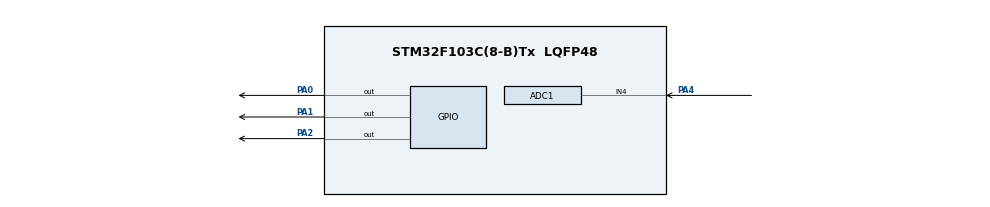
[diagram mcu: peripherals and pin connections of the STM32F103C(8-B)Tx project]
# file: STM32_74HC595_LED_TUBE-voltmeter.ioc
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ADC1.Channel-12\#ChannelRegularConversion=ADC_CHANNEL_4
ADC1.NbrOfConversionFlag=1
ADC1.Rank-12\#ChannelRegularConversion=1
ADC1.SamplingTime-12\#ChannelRegularConversion=ADC_SAMPLETIME_1CYCLE_5
ADC1.master=1
Mcu.Family=STM32F1
Mcu.Name=STM32F103C(8-B)Tx
Mcu.Package=LQFP48
NVIC.PriorityGroup=NVIC_PRIORITYGROUP_4
PA0-WKUP.Signal=GPIO_Output
PA1.Signal=GPIO_Output
PA13.Mode=Serial_Wire
PA13.Signal=SYS_JTMS-SWDIO
PA14.Mode=Serial_Wire
PA14.Signal=SYS_JTCK-SWCLK
PA2.Signal=GPIO_Output
PA4.Signal=ADCx_IN4
ProjectManager.HeapSize=0x200
ProjectManager.StackSize=0x400
ProjectManager.TargetToolchain=Makefile
RCC.APB1CLKDivider=RCC_HCLK_DIV4
RCC.APB1Freq_Value=2000000
RCC.APB1TimFreq_Value=4000000
RCC.APB2Freq_Value=8000000
RCC.APB2TimFreq_Value=8000000
SH.ADCx_IN4.0=ADC1_IN4,IN4

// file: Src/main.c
/**
  ******************************************************************************
  * File Name          : main.c
  * Description        : Main program body
  ******************************************************************************
  ** This notice applies to any and all portions of this file
  * that are not between comment pairs USER CODE BEGIN and
  * USER CODE END. Other portions of this file, whether
  * inserted by the user or by software development tools
  * are owned by their respective copyright owners.
  *
  * COPYRIGHT(c) 2017 STMicroelectronics
  *
  * Redistribution and use in source and binary forms, with or without modification,
  * are permitted provided that the following conditions are met:
  *   1. Redistributions of source code must retain the above copyright notice,
  *      this list of conditions and the following disclaimer.
  *   2. Redistributions in binary form must reproduce the above copyright notice,
  *      this list of conditions and the following disclaimer in the documentation
  *      and/or other materials provided with the distribution.
  *   3. Neither the name of STMicroelectronics nor the names of its contributors
  *      may be used to endorse or promote products derived from this software
  *      without specific prior written permission.
  *
  * THIS SOFTWARE IS PROVIDED BY THE COPYRIGHT HOLDERS AND CONTRIBUTORS "AS IS"
  * AND ANY EXPRESS OR IMPLIED WARRANTIES, INCLUDING, BUT NOT LIMITED TO, THE
  * IMPLIED WARRANTIES OF MERCHANTABILITY AND FITNESS FOR A PARTICULAR PURPOSE ARE
  * DISCLAIMED. IN NO EVENT SHALL THE COPYRIGHT HOLDER OR CONTRIBUTORS BE LIABLE
  * FOR ANY DIRECT, INDIRECT, INCIDENTAL, SPECIAL, EXEMPLARY, OR CONSEQUENTIAL
  * DAMAGES (INCLUDING, BUT NOT LIMITED TO, PROCUREMENT OF SUBSTITUTE GOODS OR
  * SERVICES; LOSS OF USE, DATA, OR PROFITS; OR BUSINESS INTERRUPTION) HOWEVER
  * CAUSED AND ON ANY THEORY OF LIABILITY, WHETHER IN CONTRACT, STRICT LIABILITY,
  * OR TORT (INCLUDING NEGLIGENCE OR OTHERWISE) ARISING IN ANY WAY OUT OF THE USE
  * OF THIS SOFTWARE, EVEN IF ADVISED OF THE POSSIBILITY OF SUCH DAMAGE.
  *
  ******************************************************************************
  */
#include "main.h"
#include "stm32f1xx_hal.h"

/* USER CODE BEGIN Includes */
#include "74HC595.c"
#include "main.h"
/* USER CODE END Includes */

ADC_HandleTypeDef hadc1;

/* USER CODE BEGIN PV */
/* Private variables ---------------------------------------------------------*/
uint32_t adcResult = 0;
long num;
uint8_t adc_counter;
long display;
/* USER CODE END PV */

void SystemClock_Config(void);
static void MX_GPIO_Init(void);
static void MX_ADC1_Init(void);

/* USER CODE BEGIN PFP */
/* Private function prototypes -----------------------------------------------*/

/* USER CODE END PFP */

int main(void)
{

  /* MCU Configuration----------------------------------------------------------*/

  /* Reset of all peripherals, Initializes the Flash interface and the Systick. */
  HAL_Init();

  /* Configure the system clock */
  SystemClock_Config();

  /* Initialize all configured peripherals */
  MX_GPIO_Init();
  MX_ADC1_Init();

  /* Infinite loop */
  while (1)
  {

  /* USER CODE BEGIN 3 */
    HAL_ADC_Start(&hadc1);
    HAL_ADC_PollForConversion(&hadc1, 100);
    adcResult += HAL_ADC_GetValue(&hadc1);
    adc_counter++; // Увеличиваем счетчик измерений
    if(adc_counter > 5) // Если количество измерений больше N
    {
      display = adcResult/adc_counter/1.246; // Вычисляем среднее значение
      adc_counter = 0; // Обнуляем счетчик измерений
      adcResult = 0; // Обнуляем значение
      HAL_ADC_Stop(&hadc1);
    }
    digit4_3(display, 10, true);
    HAL_Delay(1/20);
  }
  /* USER CODE END 3 */

}

/** System Clock Configuration
*/
void SystemClock_Config(void)
{

  RCC_OscInitTypeDef RCC_OscInitStruct;
  RCC_ClkInitTypeDef RCC_ClkInitStruct;
  RCC_PeriphCLKInitTypeDef PeriphClkInit;

    /**Initializes the CPU, AHB and APB busses clocks
    */
  RCC_OscInitStruct.OscillatorType = RCC_OSCILLATORTYPE_HSI;
  RCC_OscInitStruct.HSIState = RCC_HSI_ON;
  RCC_OscInitStruct.HSICalibrationValue = 16;
  RCC_OscInitStruct.PLL.PLLState = RCC_PLL_NONE;
  if (HAL_RCC_OscConfig(&RCC_OscInitStruct) != HAL_OK)
  {
    _Error_Handler(__FILE__, __LINE__);
  }

    /**Initializes the CPU, AHB and APB busses clocks
    */
  RCC_ClkInitStruct.ClockType = RCC_CLOCKTYPE_HCLK|RCC_CLOCKTYPE_SYSCLK
                              |RCC_CLOCKTYPE_PCLK1|RCC_CLOCKTYPE_PCLK2;
  RCC_ClkInitStruct.SYSCLKSource = RCC_SYSCLKSOURCE_HSI;
  RCC_ClkInitStruct.AHBCLKDivider = RCC_SYSCLK_DIV1;
  RCC_ClkInitStruct.APB1CLKDivider = RCC_HCLK_DIV4;
  RCC_ClkInitStruct.APB2CLKDivider = RCC_HCLK_DIV1;

  if (HAL_RCC_ClockConfig(&RCC_ClkInitStruct, FLASH_LATENCY_0) != HAL_OK)
  {
    _Error_Handler(__FILE__, __LINE__);
  }

  PeriphClkInit.PeriphClockSelection = RCC_PERIPHCLK_ADC;
  PeriphClkInit.AdcClockSelection = RCC_ADCPCLK2_DIV2;
  if (HAL_RCCEx_PeriphCLKConfig(&PeriphClkInit) != HAL_OK)
  {
    _Error_Handler(__FILE__, __LINE__);
  }

    /**Configure the Systick interrupt time
    */
  HAL_SYSTICK_Config(HAL_RCC_GetHCLKFreq()/1000);

    /**Configure the Systick
    */
  HAL_SYSTICK_CLKSourceConfig(SYSTICK_CLKSOURCE_HCLK);

  /* SysTick_IRQn interrupt configuration */
  HAL_NVIC_SetPriority(SysTick_IRQn, 0, 0);
}

/* ADC1 init function */
static void MX_ADC1_Init(void)
{

  ADC_ChannelConfTypeDef sConfig;

    /**Common config
    */
  hadc1.Instance = ADC1;
  hadc1.Init.ScanConvMode = ADC_SCAN_DISABLE;
  hadc1.Init.ContinuousConvMode = DISABLE;
  hadc1.Init.DiscontinuousConvMode = DISABLE;
  hadc1.Init.ExternalTrigConv = ADC_SOFTWARE_START;
  hadc1.Init.DataAlign = ADC_DATAALIGN_RIGHT;
  hadc1.Init.NbrOfConversion = 1;
  if (HAL_ADC_Init(&hadc1) != HAL_OK)
  {
    _Error_Handler(__FILE__, __LINE__);
  }

    /**Configure Regular Channel
    */
  sConfig.Channel = ADC_CHANNEL_4;
  sConfig.Rank = 1;
  sConfig.SamplingTime = ADC_SAMPLETIME_1CYCLE_5;
  if (HAL_ADC_ConfigChannel(&hadc1, &sConfig) != HAL_OK)
  {
    _Error_Handler(__FILE__, __LINE__);
  }

}

/** Configure pins as
        * Analog
        * Input
        * Output
        * EVENT_OUT
        * EXTI
*/
static void MX_GPIO_Init(void)
{

  GPIO_InitTypeDef GPIO_InitStruct;

  /* GPIO Ports Clock Enable */
  __HAL_RCC_GPIOA_CLK_ENABLE();

  /*Configure GPIO pin Output Level */
  HAL_GPIO_WritePin(GPIOA, GPIO_PIN_0|GPIO_PIN_1|GPIO_PIN_2, GPIO_PIN_RESET);

  /*Configure GPIO pins : PA0 PA1 PA2 */
  GPIO_InitStruct.Pin = GPIO_PIN_0|GPIO_PIN_1|GPIO_PIN_2;
  GPIO_InitStruct.Mode = GPIO_MODE_OUTPUT_PP;
  GPIO_InitStruct.Speed = GPIO_SPEED_FREQ_LOW;
  HAL_GPIO_Init(GPIOA, &GPIO_InitStruct);

}

void _Error_Handler(char * file, int line)
{
  while(1)
  {
  }
}

/************************ (C) COPYRIGHT STMicroelectronics *****END OF FILE****/
